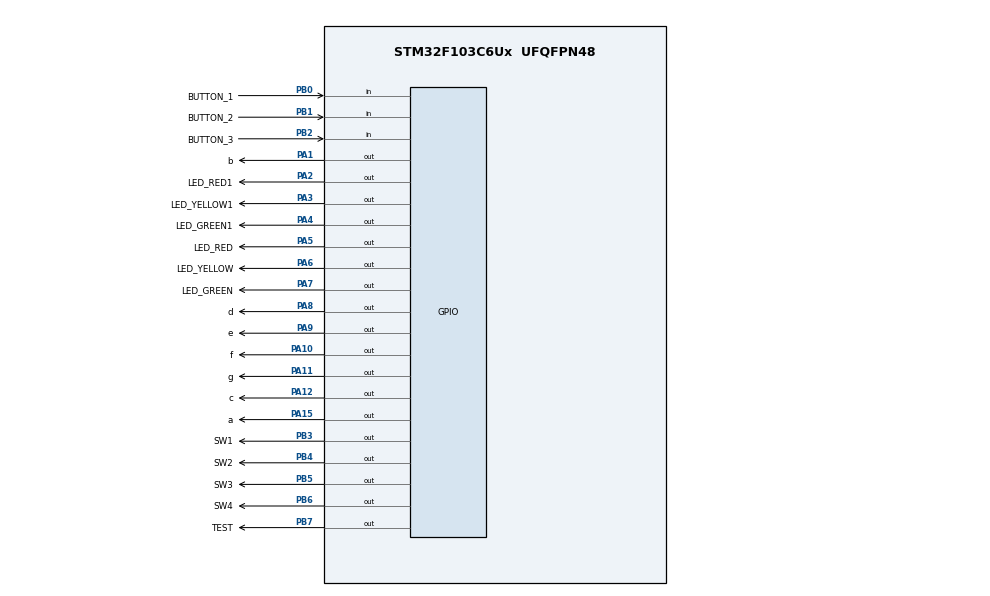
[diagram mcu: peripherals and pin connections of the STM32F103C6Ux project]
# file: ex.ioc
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Mcu.Family=STM32F1
Mcu.Name=STM32F103C6Ux
Mcu.Package=UFQFPN48
NVIC.PriorityGroup=NVIC_PRIORITYGROUP_4
NVIC.TIM2_IRQn=true\:0\:0\:false\:false\:true\:true\:true
PA1.GPIO_Label=b
PA1.Signal=GPIO_Output
PA10.GPIO_Label=f
PA10.Signal=GPIO_Output
PA11.GPIO_Label=g
PA11.Signal=GPIO_Output
PA12.GPIO_Label=c
PA12.Signal=GPIO_Output
PA13.Mode=Serial_Wire
PA13.Signal=SYS_JTMS-SWDIO
PA14.Mode=Serial_Wire
PA14.Signal=SYS_JTCK-SWCLK
PA15.GPIO_Label=a
PA15.Signal=GPIO_Output
PA2.GPIO_Label=LED_RED1
PA2.Signal=GPIO_Output
PA3.GPIO_Label=LED_YELLOW1
PA3.Signal=GPIO_Output
PA4.GPIO_Label=LED_GREEN1
PA4.Signal=GPIO_Output
PA5.GPIO_Label=LED_RED
PA5.Signal=GPIO_Output
PA6.GPIO_Label=LED_YELLOW
PA6.Signal=GPIO_Output
PA7.GPIO_Label=LED_GREEN
PA7.Signal=GPIO_Output
PA8.GPIO_Label=d
PA8.Signal=GPIO_Output
PA9.GPIO_Label=e
PA9.Signal=GPIO_Output
PB0.GPIO_Label=BUTTON_1
PB0.Signal=GPIO_Input
PB1.GPIO_Label=BUTTON_2
PB1.Signal=GPIO_Input
PB2.GPIO_Label=BUTTON_3
PB2.Signal=GPIO_Input
PB3.GPIO_Label=SW1
PB3.Signal=GPIO_Output
PB4.GPIO_Label=SW2
PB4.Signal=GPIO_Output
PB5.GPIO_Label=SW3
PB5.Signal=GPIO_Output
PB6.GPIO_Label=SW4
PB6.Signal=GPIO_Output
PB7.GPIO_Label=TEST
PB7.Signal=GPIO_Output
ProjectManager.HeapSize=0x200
ProjectManager.StackSize=0x400
ProjectManager.TargetToolchain=STM32CubeIDE
RCC.APB1Freq_Value=8000000
RCC.APB2Freq_Value=8000000
TIM2.Period=9
TIM2.Prescaler=7999
VP_TIM2_VS_ClockSourceINT.Mode=Internal
board=custom

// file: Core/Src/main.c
/* USER CODE BEGIN Header */
/**
  ******************************************************************************
  * @file           : main.c
  * @brief          : Main program body
  ******************************************************************************
  * @attention
  *
  * <h2><center>&copy; Copyright (c) 2023 STMicroelectronics.
  * All rights reserved.</center></h2>
  *
  * This software component is licensed by ST under BSD 3-Clause license,
  * the "License"; You may not use this file except in compliance with the
  * License. You may obtain a copy of the License at:
  *                        opensource.org/licenses/BSD-3-Clause
  *
  ******************************************************************************
  */
/* USER CODE END Header */
#include "main.h"

/* USER CODE BEGIN Includes */
#include "global.h"
#include "time.h"
#include "fsm_automatic.h"
#include "led_7_seg.h"
#include "button.h"
#include "fsm_mode.h"
/* USER CODE END Includes */

TIM_HandleTypeDef htim2;

void SystemClock_Config(void);
static void MX_GPIO_Init(void);
static void MX_TIM2_Init(void);

int main(void)
{

  /* MCU Configuration--------------------------------------------------------*/

  /* Reset of all peripherals, Initializes the Flash interface and the Systick. */
  HAL_Init();

  /* Configure the system clock */
  SystemClock_Config();

  /* Initialize all configured peripherals */
  MX_GPIO_Init();
  MX_TIM2_Init();
  /* USER CODE BEGIN 2 */
  HAL_TIM_Base_Start_IT(&htim2);
  /* USER CODE END 2 */

  /* Infinite loop */
  /* USER CODE BEGIN WHILE */

  //dung PNP switch 7 seg led
  status[0] = INIT;
  status[1] = INIT;

  count_inter = (8000000/(prescaller+1))/(counter_+1);
  while (1)
  {
    /* USER CODE END WHILE */

    /* USER CODE BEGIN 3 */
	//fsm_automatic_run();
	//display7segLed(led7_seg_buffer[led_buffer[2]]);
	scan_led();
	fsm_mode();
	if(isButtonPressed(0)){
		setTimer(3, count_inter);
		HAL_GPIO_WritePin(LED_RED_GPIO_Port, LED_RED_Pin, SET);
		HAL_GPIO_WritePin(LED_RED1_GPIO_Port, LED_RED_Pin, SET);

		HAL_GPIO_WritePin(LED_YELLOW_GPIO_Port, LED_YELLOW_Pin, SET);
		HAL_GPIO_WritePin(LED_YELLOW1_GPIO_Port, LED_YELLOW1_Pin, SET);

		HAL_GPIO_WritePin(LED_RED_GPIO_Port, LED_RED_Pin, SET);
		HAL_GPIO_WritePin(LED_RED1_GPIO_Port, LED_RED_Pin, SET);
		if (mode < 4)
			mode++;
		else
			mode = 1;
	}
  }
  /* USER CODE END 3 */
}

void SystemClock_Config(void)
{
  RCC_OscInitTypeDef RCC_OscInitStruct = {0};
  RCC_ClkInitTypeDef RCC_ClkInitStruct = {0};

  /** Initializes the RCC Oscillators according to the specified parameters
  * in the RCC_OscInitTypeDef structure.
  */
  RCC_OscInitStruct.OscillatorType = RCC_OSCILLATORTYPE_HSI;
  RCC_OscInitStruct.HSIState = RCC_HSI_ON;
  RCC_OscInitStruct.HSICalibrationValue = RCC_HSICALIBRATION_DEFAULT;
  RCC_OscInitStruct.PLL.PLLState = RCC_PLL_NONE;
  if (HAL_RCC_OscConfig(&RCC_OscInitStruct) != HAL_OK)
  {
    Error_Handler();
  }
  /** Initializes the CPU, AHB and APB buses clocks
  */
  RCC_ClkInitStruct.ClockType = RCC_CLOCKTYPE_HCLK|RCC_CLOCKTYPE_SYSCLK
                              |RCC_CLOCKTYPE_PCLK1|RCC_CLOCKTYPE_PCLK2;
  RCC_ClkInitStruct.SYSCLKSource = RCC_SYSCLKSOURCE_HSI;
  RCC_ClkInitStruct.AHBCLKDivider = RCC_SYSCLK_DIV1;
  RCC_ClkInitStruct.APB1CLKDivider = RCC_HCLK_DIV1;
  RCC_ClkInitStruct.APB2CLKDivider = RCC_HCLK_DIV1;

  if (HAL_RCC_ClockConfig(&RCC_ClkInitStruct, FLASH_LATENCY_0) != HAL_OK)
  {
    Error_Handler();
  }
}

static void MX_TIM2_Init(void)
{

  TIM_ClockConfigTypeDef sClockSourceConfig = {0};
  TIM_MasterConfigTypeDef sMasterConfig = {0};

  htim2.Instance = TIM2;
  htim2.Init.Prescaler = 7999;
  htim2.Init.CounterMode = TIM_COUNTERMODE_UP;
  htim2.Init.Period = 9;
  htim2.Init.ClockDivision = TIM_CLOCKDIVISION_DIV1;
  htim2.Init.AutoReloadPreload = TIM_AUTORELOAD_PRELOAD_DISABLE;
  if (HAL_TIM_Base_Init(&htim2) != HAL_OK)
  {
    Error_Handler();
  }
  sClockSourceConfig.ClockSource = TIM_CLOCKSOURCE_INTERNAL;
  if (HAL_TIM_ConfigClockSource(&htim2, &sClockSourceConfig) != HAL_OK)
  {
    Error_Handler();
  }
  sMasterConfig.MasterOutputTrigger = TIM_TRGO_RESET;
  sMasterConfig.MasterSlaveMode = TIM_MASTERSLAVEMODE_DISABLE;
  if (HAL_TIMEx_MasterConfigSynchronization(&htim2, &sMasterConfig) != HAL_OK)
  {
    Error_Handler();
  }
  /* USER CODE BEGIN TIM2_Init 2 */
  prescaller = htim2.Init.Prescaler;
  counter_ = htim2.Init.Period;
  /* USER CODE END TIM2_Init 2 */

}

static void MX_GPIO_Init(void)
{
  GPIO_InitTypeDef GPIO_InitStruct = {0};

  /* GPIO Ports Clock Enable */
  __HAL_RCC_GPIOA_CLK_ENABLE();
  __HAL_RCC_GPIOB_CLK_ENABLE();

  /*Configure GPIO pin Output Level */
  HAL_GPIO_WritePin(GPIOA, b_Pin|LED_RED1_Pin|LED_YELLOW1_Pin|LED_GREEN1_Pin
                          |LED_RED_Pin|LED_YELLOW_Pin|LED_GREEN_Pin|d_Pin
                          |e_Pin|f_Pin|g_Pin|c_Pin
                          |a_Pin, GPIO_PIN_RESET);

  /*Configure GPIO pin Output Level */
  HAL_GPIO_WritePin(GPIOB, SW1_Pin|SW2_Pin|SW3_Pin|SW4_Pin, GPIO_PIN_RESET);

  /*Configure GPIO pins : b_Pin LED_RED1_Pin LED_YELLOW1_Pin LED_GREEN1_Pin
                           LED_RED_Pin LED_YELLOW_Pin LED_GREEN_Pin d_Pin
                           e_Pin f_Pin g_Pin c_Pin
                           a_Pin */
  GPIO_InitStruct.Pin = b_Pin|LED_RED1_Pin|LED_YELLOW1_Pin|LED_GREEN1_Pin
                          |LED_RED_Pin|LED_YELLOW_Pin|LED_GREEN_Pin|d_Pin
                          |e_Pin|f_Pin|g_Pin|c_Pin
                          |a_Pin;
  GPIO_InitStruct.Mode = GPIO_MODE_OUTPUT_PP;
  GPIO_InitStruct.Pull = GPIO_NOPULL;
  GPIO_InitStruct.Speed = GPIO_SPEED_FREQ_LOW;
  HAL_GPIO_Init(GPIOA, &GPIO_InitStruct);

  /*Configure GPIO pins : BUTTON_1_Pin BUTTON_2_Pin BUTTON_3_Pin */
  GPIO_InitStruct.Pin = BUTTON_1_Pin|BUTTON_2_Pin|BUTTON_3_Pin;
  GPIO_InitStruct.Mode = GPIO_MODE_INPUT;
  GPIO_InitStruct.Pull = GPIO_NOPULL;
  HAL_GPIO_Init(GPIOB, &GPIO_InitStruct);

  /*Configure GPIO pins : SW1_Pin SW2_Pin SW3_Pin SW4_Pin */
  GPIO_InitStruct.Pin = SW1_Pin|SW2_Pin|SW3_Pin|SW4_Pin;
  GPIO_InitStruct.Mode = GPIO_MODE_OUTPUT_PP;
  GPIO_InitStruct.Pull = GPIO_NOPULL;
  GPIO_InitStruct.Speed = GPIO_SPEED_FREQ_LOW;
  HAL_GPIO_Init(GPIOB, &GPIO_InitStruct);

}

/* USER CODE BEGIN 4 */
void HAL_TIM_PeriodElapsedCallback(TIM_HandleTypeDef *htim){
		//button_reading();
		timerRun();
		getKeyInput();
}
/* USER CODE END 4 */

void Error_Handler(void)
{
  __disable_irq();
  while (1)
  {
  }
}

/************************ (C) COPYRIGHT STMicroelectronics *****END OF FILE****/
